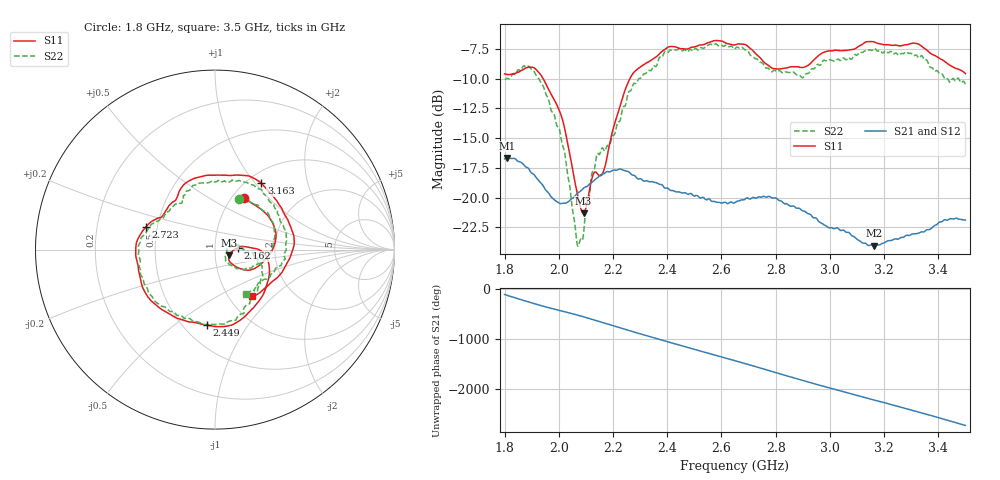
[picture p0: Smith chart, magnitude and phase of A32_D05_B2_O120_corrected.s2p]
! Created with skrf 1.9.0 (http://scikit-rf.org).
# Hz S RI R 50.0
!freq ReS11 ImS11 ReS21 ImS21 ReS12 ImS12 ReS22 ImS22
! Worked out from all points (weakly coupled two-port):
!   1601 points, 1.8 GHz to 3.5 GHz, reference 50 ohm
!   highest |S21| = -16.65 dB at 1.81 GHz (marker M1); lowest = -24.0 dB at 3.163 GHz (marker M2)
!   lowest |S11| = -21.3 dB at 2.091 GHz (marker M3), VSWR 1.19, Z = 58.5 - j3.8 ohm
!   |S11| at or under -10 dB: 1.942 GHz to 2.262 GHz (319.9 MHz wide, 15.2 % of centre)
!   |S22| runs from -24.1 to -7.1 dB; largest |S21 - S12| = 0.0026
!   S11 on the Smith chart (normalised r, x): 1.8 GHz: 1.13, +0.73; 2.162 GHz: 1.29, +0.03; 2.449 GHz: 0.65, -0.66; 2.723 GHz: 0.43, +0.13; 3.163 GHz: 1.16, +1.08; 3.5 GHz: 1.28, -0.75
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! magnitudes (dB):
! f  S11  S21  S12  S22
! 1.8 GHz  -9.6  -16.7  -16.7  -10.1
! 1.81 GHz  -9.7  -16.7  -16.7  -10.0
! 1.885 GHz  -9.1  -17.5  -17.5  -9.0
! 1.941 GHz  -10.0  -19.0  -19.0  -10.6
! 2.013 GHz  -13.4  -20.5  -20.5  -15.5
! 2.066 GHz  -19.4  -19.7  -19.7  -23.6
! 2.084 GHz  -21.1  -19.4  -19.3  -23.5
! 2.091 GHz  -21.3  -19.2  -19.2  -23.1
! 2.126 GHz  -18.1  -18.6  -18.6  -17.8
! 2.162 GHz  -17.9  -18.0  -17.9  -15.8
! 2.195 GHz  -14.7  -17.8  -17.7  -15.0
! 2.259 GHz  -10.2  -17.8  -17.9  -11.1
! 2.367 GHz  -8.0  -18.8  -18.8  -8.4
! 2.449 GHz  -7.5  -19.6  -19.6  -7.6
! 2.65 GHz  -7.2  -20.4  -20.4  -7.5
! 2.723 GHz  -7.8  -20.0  -20.0  -8.3
! 2.797 GHz  -9.2  -20.0  -20.0  -9.3
! 2.934 GHz  -8.6  -21.6  -21.5  -9.2
! 3.163 GHz  -6.9  -24.0  -24.0  -7.5
! 3.217 GHz  -7.2  -23.6  -23.6  -7.8
! 3.324 GHz  -7.1  -23.0  -23.0  -8.2
! 3.5 GHz  -9.6  -21.9  -21.9  -10.5
